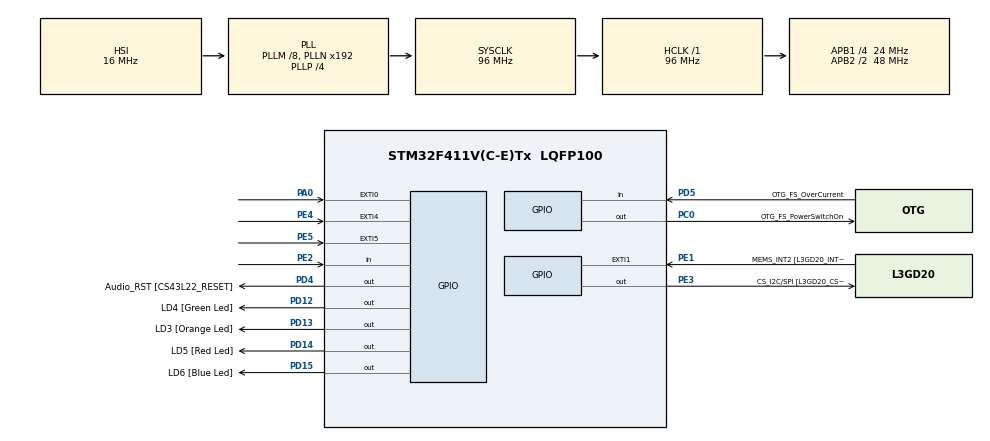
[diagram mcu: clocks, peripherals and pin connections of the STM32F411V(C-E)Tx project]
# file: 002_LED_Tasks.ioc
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Mcu.Family=STM32F4
Mcu.Name=STM32F411V(C-E)Tx
Mcu.Package=LQFP100
NVIC.PriorityGroup=NVIC_PRIORITYGROUP_4
NVIC.TIM5_IRQn=true\:0\:0\:false\:false\:true\:false\:true\:true
NVIC.TimeBase=TIM5_IRQn
NVIC.TimeBaseIP=TIM5
PA0-WKUP.GPIO_ModeDefaultEXTI=GPIO_MODE_EVT_RISING
PA0-WKUP.Signal=GPXTI0
PA10.GPIO_Label=OTG_FS_ID
PA10.Signal=USB_OTG_FS_ID
PA11.GPIO_Label=OTG_FS_DM
PA11.Signal=USB_OTG_FS_DM
PA12.GPIO_Label=OTG_FS_DP
PA12.Signal=USB_OTG_FS_DP
PA13.GPIO_Label=SWDIO
PA13.Signal=SYS_JTMS-SWDIO
PA14.GPIO_Label=SWCLK
PA14.Signal=SYS_JTCK-SWCLK
PA4.GPIO_Label=I2S3_WS [CS43L22_LRCK]
PA4.GPIO_Mode=GPIO_MODE_AF_PP
PA4.GPIO_PuPd=GPIO_NOPULL
PA4.GPIO_Speed=GPIO_SPEED_FREQ_LOW
PA4.Signal=I2S3_WS
PA5.GPIO_Label=SPI1_SCK [L3GD20_SC/SPC]
PA5.Signal=SPI1_SCK
PA6.GPIO_Label=SPI1_MISO [L3GD20_AS0/SDO]
PA6.Signal=SPI1_MISO
PA7.GPIO_Label=SPI1_MOSI [L3GD20_SDA/SDI/SDO]
PA7.Signal=SPI1_MOSI
PA9.GPIO_Label=VBUS_FS
PA9.Signal=USB_OTG_FS_VBUS
PB10.GPIO_Label=CLK_IN [MP45DT02_CLK]
PB10.Signal=I2S2_CK
PB12.Signal=I2S2_WS
PB3.GPIO_Label=SWO
PB3.Signal=SYS_JTDO-SWO
PB6.GPIO_Label=Audio_SCL [CS43L22_SCL]
PB6.GPIO_Mode=GPIO_MODE_AF_OD
PB6.GPIO_PuPd=GPIO_NOPULL
PB6.GPIO_Speed=GPIO_SPEED_FREQ_LOW
PB6.Signal=I2C1_SCL
PB9.GPIO_Label=Audio_SDA [CS43L22_SDA]
PB9.GPIO_Mode=GPIO_MODE_AF_OD
PB9.GPIO_PuPd=GPIO_NOPULL
PB9.GPIO_Speed=GPIO_SPEED_FREQ_LOW
PB9.Signal=I2C1_SDA
PC0.GPIO_Label=OTG_FS_PowerSwitchOn
PC0.PinState=GPIO_PIN_SET
PC0.Signal=GPIO_Output
PC10.GPIO_Label=I2S3_SCK [CS43L22_SCLK]
PC10.GPIO_Mode=GPIO_MODE_AF_PP
PC10.GPIO_PuPd=GPIO_NOPULL
PC10.GPIO_Speed=GPIO_SPEED_FREQ_LOW
PC10.Signal=I2S3_CK
PC12.GPIO_Label=I2S3_SD [CS43L22_SDIN]
PC12.GPIO_Mode=GPIO_MODE_AF_PP
PC12.GPIO_PuPd=GPIO_NOPULL
PC12.GPIO_Speed=GPIO_SPEED_FREQ_LOW
PC12.Signal=I2S3_SD
PC14-OSC32_IN.GPIO_Label=PC14-OSC32_IN
PC14-OSC32_IN.Signal=RCC_OSC32_IN
PC15-OSC32_OUT.GPIO_Label=PC15-OSC32_OUT
PC15-OSC32_OUT.Signal=RCC_OSC32_OUT
PC3.GPIO_Label=PDM_OUT [MP45DT02_DOUT]
PC3.Signal=I2S2_SD
PC7.GPIO_Label=I2S3_MCK [CS43L22_MCLK]
PC7.GPIO_Mode=GPIO_MODE_AF_PP
PC7.GPIO_PuPd=GPIO_NOPULL
PC7.GPIO_Speed=GPIO_SPEED_FREQ_LOW
PC7.Signal=I2S3_MCK
PD12.GPIO_Label=LD4 [Green Led]
PD12.GPIO_PuPd=GPIO_NOPULL
PD12.GPIO_Speed=GPIO_SPEED_FREQ_LOW
PD12.Signal=GPIO_Output
PD13.GPIO_Label=LD3 [Orange Led]
PD13.GPIO_PuPd=GPIO_NOPULL
PD13.GPIO_Speed=GPIO_SPEED_FREQ_LOW
PD13.Signal=GPIO_Output
PD14.GPIO_Label=LD5 [Red Led]
PD14.GPIO_PuPd=GPIO_NOPULL
PD14.GPIO_Speed=GPIO_SPEED_FREQ_LOW
PD14.Signal=GPIO_Output
PD15.GPIO_Label=LD6 [Blue Led]
PD15.GPIO_PuPd=GPIO_NOPULL
PD15.GPIO_Speed=GPIO_SPEED_FREQ_LOW
PD15.Signal=GPIO_Output
PD4.GPIO_Label=Audio_RST [CS43L22_RESET]
PD4.Signal=GPIO_Output
PD5.GPIO_Label=OTG_FS_OverCurrent
PD5.Signal=GPIO_Input
PE1.GPIO_Label=MEMS_INT2 [L3GD20_INT2]
PE1.GPIO_ModeDefaultEXTI=GPIO_MODE_EVT_RISING
PE1.Signal=GPXTI1
PE2.Signal=GPIO_Input
PE3.GPIO_Label=CS_I2C/SPI [L3GD20_CS_I2C/SPI]
PE3.Signal=GPIO_Output
PE4.GPIO_ModeDefaultEXTI=GPIO_MODE_EVT_RISING
PE4.Signal=GPXTI4
PE5.GPIO_ModeDefaultEXTI=GPIO_MODE_EVT_RISING
PE5.Signal=GPXTI5
PH0\ -\ OSC_IN.GPIO_Label=PH0-OSC_IN
PH0\ -\ OSC_IN.Signal=RCC_OSC_IN
PH1\ -\ OSC_OUT.GPIO_Label=PH1-OSC_OUT
PH1\ -\ OSC_OUT.Signal=RCC_OSC_OUT
ProjectManager.HeapSize=0x200
ProjectManager.StackSize=0x400
ProjectManager.TargetToolchain=STM32CubeIDE
RCC.48MHZClocksFreq_Value=48000000
RCC.AHBFreq_Value=96000000
RCC.APB1CLKDivider=RCC_HCLK_DIV4
RCC.APB1Freq_Value=24000000
RCC.APB1TimFreq_Value=48000000
RCC.APB2CLKDivider=RCC_HCLK_DIV2
RCC.APB2Freq_Value=48000000
RCC.APB2TimFreq_Value=96000000
RCC.CortexFreq_Value=96000000
RCC.HCLKFreq_Value=96000000
RCC.HSE_VALUE=8000000
RCC.HSI_VALUE=16000000
RCC.LSE_VALUE=32768
RCC.PLLI2SM=5
RCC.PLLI2SN=200
RCC.PLLM=8
RCC.PLLP=RCC_PLLP_DIV4
RCC.PLLQ=8
RCC.SYSCLKFreq_VALUE=96000000
RCC.SYSCLKSource=RCC_SYSCLKSOURCE_PLLCLK
RCC.VCOOutputFreq_Value=384000000
VP_SYS_VS_tim5.Mode=TIM5
board=STM32F411E-DISCO

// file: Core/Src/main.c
/* USER CODE BEGIN Header */
/**
  ******************************************************************************
  * @file           : main.c
  * @brief          : Main program body
  ******************************************************************************
  * @attention
  *
  * Copyright (c) 2024 STMicroelectronics.
  * All rights reserved.
  *
  * This software is licensed under terms that can be found in the LICENSE file
  * in the root directory of this software component.
  * If no LICENSE file comes with this software, it is provided AS-IS.
  *
  ******************************************************************************
  */
/* USER CODE END Header */
#include "main.h"

/* USER CODE BEGIN Includes */
#include <stdio.h>
#include "FreeRTOS.h"
#include "task.h"

/* USER CODE END Includes */

/* USER CODE BEGIN PV */
#define DWT_CTRL    (*(volatile uint32_t*)0xE0001000)

/* USER CODE END PV */

void SystemClock_Config(void);
static void MX_GPIO_Init(void);
/* USER CODE BEGIN PFP */
static void led_green_handler(void* parameters);
static void led_orange_handler(void* parameters);
static void led_red_handler(void* parameters);

/* USER CODE END PFP */

int main(void)
{

  /* USER CODE BEGIN 1 */

	TaskHandle_t task1_handle;
	TaskHandle_t task2_handle;
	TaskHandle_t task3_handle;

	BaseType_t status;

  /* USER CODE END 1 */

  /* MCU Configuration--------------------------------------------------------*/

  /* Reset of all peripherals, Initializes the Flash interface and the Systick. */
  HAL_Init();

  /* Configure the system clock */
  SystemClock_Config();

  /* Initialize all configured peripherals */
  MX_GPIO_Init();
  /* USER CODE BEGIN 2 */
  //Enable the CYCCNT counter.
  DWT_CTRL |= ( 1 << 0);
  //SEGGER_UART_init(500000);

  SEGGER_SYSVIEW_Conf();
  SEGGER_SYSVIEW_Start();

  status = xTaskCreate(led_green_handler, "LED_green_task", 200, NULL, 2, &task1_handle);

  configASSERT(status == pdPASS);

  status = xTaskCreate(led_red_handler, "LED_red_task", 200,NULL, 2, &task2_handle);

  configASSERT(status == pdPASS);

  status = xTaskCreate(led_orange_handler, "LED_orange_task", 200, NULL, 2, &task3_handle);

  configASSERT(status == pdPASS);

  //start the freeRTOS scheduler
  vTaskStartScheduler();

  //if the control comes here, then the launch of the scheduler has failed due to
  //insufficient memory in heap

  /* USER CODE END 2 */

  /* Infinite loop */
  while (1)
  {

  }
}

void SystemClock_Config(void)
{
  RCC_OscInitTypeDef RCC_OscInitStruct = {0};
  RCC_ClkInitTypeDef RCC_ClkInitStruct = {0};

  /** Configure the main internal regulator output voltage
  */
  __HAL_RCC_PWR_CLK_ENABLE();
  __HAL_PWR_VOLTAGESCALING_CONFIG(PWR_REGULATOR_VOLTAGE_SCALE1);

  /** Initializes the RCC Oscillators according to the specified parameters
  * in the RCC_OscInitTypeDef structure.
  */
  RCC_OscInitStruct.OscillatorType = RCC_OSCILLATORTYPE_HSI;
  RCC_OscInitStruct.HSIState = RCC_HSI_ON;
  RCC_OscInitStruct.HSICalibrationValue = RCC_HSICALIBRATION_DEFAULT;
  RCC_OscInitStruct.PLL.PLLState = RCC_PLL_ON;
  RCC_OscInitStruct.PLL.PLLSource = RCC_PLLSOURCE_HSI;
  RCC_OscInitStruct.PLL.PLLM = 8;
  RCC_OscInitStruct.PLL.PLLN = 192;
  RCC_OscInitStruct.PLL.PLLP = RCC_PLLP_DIV4;
  RCC_OscInitStruct.PLL.PLLQ = 8;
  if (HAL_RCC_OscConfig(&RCC_OscInitStruct) != HAL_OK)
  {
    Error_Handler();
  }

  /** Initializes the CPU, AHB and APB buses clocks
  */
  RCC_ClkInitStruct.ClockType = RCC_CLOCKTYPE_HCLK|RCC_CLOCKTYPE_SYSCLK
                              |RCC_CLOCKTYPE_PCLK1|RCC_CLOCKTYPE_PCLK2;
  RCC_ClkInitStruct.SYSCLKSource = RCC_SYSCLKSOURCE_PLLCLK;
  RCC_ClkInitStruct.AHBCLKDivider = RCC_SYSCLK_DIV1;
  RCC_ClkInitStruct.APB1CLKDivider = RCC_HCLK_DIV4;
  RCC_ClkInitStruct.APB2CLKDivider = RCC_HCLK_DIV2;

  if (HAL_RCC_ClockConfig(&RCC_ClkInitStruct, FLASH_LATENCY_3) != HAL_OK)
  {
    Error_Handler();
  }
}

static void MX_GPIO_Init(void)
{
  GPIO_InitTypeDef GPIO_InitStruct = {0};

  /* GPIO Ports Clock Enable */
  __HAL_RCC_GPIOE_CLK_ENABLE();
  __HAL_RCC_GPIOC_CLK_ENABLE();
  __HAL_RCC_GPIOH_CLK_ENABLE();
  __HAL_RCC_GPIOA_CLK_ENABLE();
  __HAL_RCC_GPIOB_CLK_ENABLE();
  __HAL_RCC_GPIOD_CLK_ENABLE();

  /*Configure GPIO pin Output Level */
  HAL_GPIO_WritePin(CS_I2C_SPI_GPIO_Port, CS_I2C_SPI_Pin, GPIO_PIN_RESET);

  /*Configure GPIO pin Output Level */
  HAL_GPIO_WritePin(OTG_FS_PowerSwitchOn_GPIO_Port, OTG_FS_PowerSwitchOn_Pin, GPIO_PIN_SET);

  /*Configure GPIO pin Output Level */
  HAL_GPIO_WritePin(GPIOD, LD4_Pin|LD3_Pin|LD5_Pin|LD6_Pin
                          |Audio_RST_Pin, GPIO_PIN_RESET);

  /*Configure GPIO pin : PE2 */
  GPIO_InitStruct.Pin = GPIO_PIN_2;
  GPIO_InitStruct.Mode = GPIO_MODE_INPUT;
  GPIO_InitStruct.Pull = GPIO_NOPULL;
  HAL_GPIO_Init(GPIOE, &GPIO_InitStruct);

  /*Configure GPIO pin : CS_I2C_SPI_Pin */
  GPIO_InitStruct.Pin = CS_I2C_SPI_Pin;
  GPIO_InitStruct.Mode = GPIO_MODE_OUTPUT_PP;
  GPIO_InitStruct.Pull = GPIO_NOPULL;
  GPIO_InitStruct.Speed = GPIO_SPEED_FREQ_LOW;
  HAL_GPIO_Init(CS_I2C_SPI_GPIO_Port, &GPIO_InitStruct);

  /*Configure GPIO pins : PE4 PE5 MEMS_INT2_Pin */
  GPIO_InitStruct.Pin = GPIO_PIN_4|GPIO_PIN_5|MEMS_INT2_Pin;
  GPIO_InitStruct.Mode = GPIO_MODE_EVT_RISING;
  GPIO_InitStruct.Pull = GPIO_NOPULL;
  HAL_GPIO_Init(GPIOE, &GPIO_InitStruct);

  /*Configure GPIO pin : OTG_FS_PowerSwitchOn_Pin */
  GPIO_InitStruct.Pin = OTG_FS_PowerSwitchOn_Pin;
  GPIO_InitStruct.Mode = GPIO_MODE_OUTPUT_PP;
  GPIO_InitStruct.Pull = GPIO_NOPULL;
  GPIO_InitStruct.Speed = GPIO_SPEED_FREQ_LOW;
  HAL_GPIO_Init(OTG_FS_PowerSwitchOn_GPIO_Port, &GPIO_InitStruct);

  /*Configure GPIO pin : PDM_OUT_Pin */
  GPIO_InitStruct.Pin = PDM_OUT_Pin;
  GPIO_InitStruct.Mode = GPIO_MODE_AF_PP;
  GPIO_InitStruct.Pull = GPIO_NOPULL;
  GPIO_InitStruct.Speed = GPIO_SPEED_FREQ_LOW;
  GPIO_InitStruct.Alternate = GPIO_AF5_SPI2;
  HAL_GPIO_Init(PDM_OUT_GPIO_Port, &GPIO_InitStruct);

  /*Configure GPIO pin : PA0 */
  GPIO_InitStruct.Pin = GPIO_PIN_0;
  GPIO_InitStruct.Mode = GPIO_MODE_EVT_RISING;
  GPIO_InitStruct.Pull = GPIO_NOPULL;
  HAL_GPIO_Init(GPIOA, &GPIO_InitStruct);

  /*Configure GPIO pin : I2S3_WS_Pin */
  GPIO_InitStruct.Pin = I2S3_WS_Pin;
  GPIO_InitStruct.Mode = GPIO_MODE_AF_PP;
  GPIO_InitStruct.Pull = GPIO_NOPULL;
  GPIO_InitStruct.Speed = GPIO_SPEED_FREQ_LOW;
  GPIO_InitStruct.Alternate = GPIO_AF6_SPI3;
  HAL_GPIO_Init(I2S3_WS_GPIO_Port, &GPIO_InitStruct);

  /*Configure GPIO pins : SPI1_SCK_Pin SPI1_MISO_Pin SPI1_MOSI_Pin */
  GPIO_InitStruct.Pin = SPI1_SCK_Pin|SPI1_MISO_Pin|SPI1_MOSI_Pin;
  GPIO_InitStruct.Mode = GPIO_MODE_AF_PP;
  GPIO_InitStruct.Pull = GPIO_NOPULL;
  GPIO_InitStruct.Speed = GPIO_SPEED_FREQ_VERY_HIGH;
  GPIO_InitStruct.Alternate = GPIO_AF5_SPI1;
  HAL_GPIO_Init(GPIOA, &GPIO_InitStruct);

  /*Configure GPIO pins : CLK_IN_Pin PB12 */
  GPIO_InitStruct.Pin = CLK_IN_Pin|GPIO_PIN_12;
  GPIO_InitStruct.Mode = GPIO_MODE_AF_PP;
  GPIO_InitStruct.Pull = GPIO_NOPULL;
  GPIO_InitStruct.Speed = GPIO_SPEED_FREQ_LOW;
  GPIO_InitStruct.Alternate = GPIO_AF5_SPI2;
  HAL_GPIO_Init(GPIOB, &GPIO_InitStruct);

  /*Configure GPIO pins : LD4_Pin LD3_Pin LD5_Pin LD6_Pin
                           Audio_RST_Pin */
  GPIO_InitStruct.Pin = LD4_Pin|LD3_Pin|LD5_Pin|LD6_Pin
                          |Audio_RST_Pin;
  GPIO_InitStruct.Mode = GPIO_MODE_OUTPUT_PP;
  GPIO_InitStruct.Pull = GPIO_NOPULL;
  GPIO_InitStruct.Speed = GPIO_SPEED_FREQ_LOW;
  HAL_GPIO_Init(GPIOD, &GPIO_InitStruct);

  /*Configure GPIO pins : I2S3_MCK_Pin I2S3_SCK_Pin I2S3_SD_Pin */
  GPIO_InitStruct.Pin = I2S3_MCK_Pin|I2S3_SCK_Pin|I2S3_SD_Pin;
  GPIO_InitStruct.Mode = GPIO_MODE_AF_PP;
  GPIO_InitStruct.Pull = GPIO_NOPULL;
  GPIO_InitStruct.Speed = GPIO_SPEED_FREQ_LOW;
  GPIO_InitStruct.Alternate = GPIO_AF6_SPI3;
  HAL_GPIO_Init(GPIOC, &GPIO_InitStruct);

  /*Configure GPIO pin : VBUS_FS_Pin */
  GPIO_InitStruct.Pin = VBUS_FS_Pin;
  GPIO_InitStruct.Mode = GPIO_MODE_INPUT;
  GPIO_InitStruct.Pull = GPIO_NOPULL;
  HAL_GPIO_Init(VBUS_FS_GPIO_Port, &GPIO_InitStruct);

  /*Configure GPIO pins : OTG_FS_ID_Pin OTG_FS_DM_Pin OTG_FS_DP_Pin */
  GPIO_InitStruct.Pin = OTG_FS_ID_Pin|OTG_FS_DM_Pin|OTG_FS_DP_Pin;
  GPIO_InitStruct.Mode = GPIO_MODE_AF_PP;
  GPIO_InitStruct.Pull = GPIO_NOPULL;
  GPIO_InitStruct.Speed = GPIO_SPEED_FREQ_VERY_HIGH;
  GPIO_InitStruct.Alternate = GPIO_AF10_OTG_FS;
  HAL_GPIO_Init(GPIOA, &GPIO_InitStruct);

  /*Configure GPIO pin : OTG_FS_OverCurrent_Pin */
  GPIO_InitStruct.Pin = OTG_FS_OverCurrent_Pin;
  GPIO_InitStruct.Mode = GPIO_MODE_INPUT;
  GPIO_InitStruct.Pull = GPIO_NOPULL;
  HAL_GPIO_Init(OTG_FS_OverCurrent_GPIO_Port, &GPIO_InitStruct);

  /*Configure GPIO pins : Audio_SCL_Pin Audio_SDA_Pin */
  GPIO_InitStruct.Pin = Audio_SCL_Pin|Audio_SDA_Pin;
  GPIO_InitStruct.Mode = GPIO_MODE_AF_OD;
  GPIO_InitStruct.Pull = GPIO_NOPULL;
  GPIO_InitStruct.Speed = GPIO_SPEED_FREQ_LOW;
  GPIO_InitStruct.Alternate = GPIO_AF4_I2C1;
  HAL_GPIO_Init(GPIOB, &GPIO_InitStruct);

}

/* USER CODE BEGIN 4 */
static void led_green_handler(void* parameters)
{

	while(1)
	{
		SEGGER_SYSVIEW_PrintfTarget("Toggling green LED");
		HAL_GPIO_TogglePin(GPIOD, LED_GREEN_PIN);
		HAL_Delay(4000); // Blocking delay
	}

}

static void led_orange_handler(void* parameters)
{
	while(1)
	{
		SEGGER_SYSVIEW_PrintfTarget("Toggling orange LED");
		HAL_GPIO_TogglePin(GPIOD, LED_ORANGE_PIN);
		HAL_Delay(2000);	// Blocking delay
	}

}

static void led_red_handler(void* parameters)
{
	while(1)
	{
		SEGGER_SYSVIEW_PrintfTarget("Toggling red LED");
		HAL_GPIO_TogglePin(GPIOD, LED_RED_PIN);
		HAL_Delay(1000);// Blocking delay
	}

}

/* USER CODE END 4 */

void HAL_TIM_PeriodElapsedCallback(TIM_HandleTypeDef *htim)
{
  if (htim->Instance == TIM5) {
    HAL_IncTick();
  }
}

void Error_Handler(void)
{
  __disable_irq();
  while (1)
  {
  }
}
